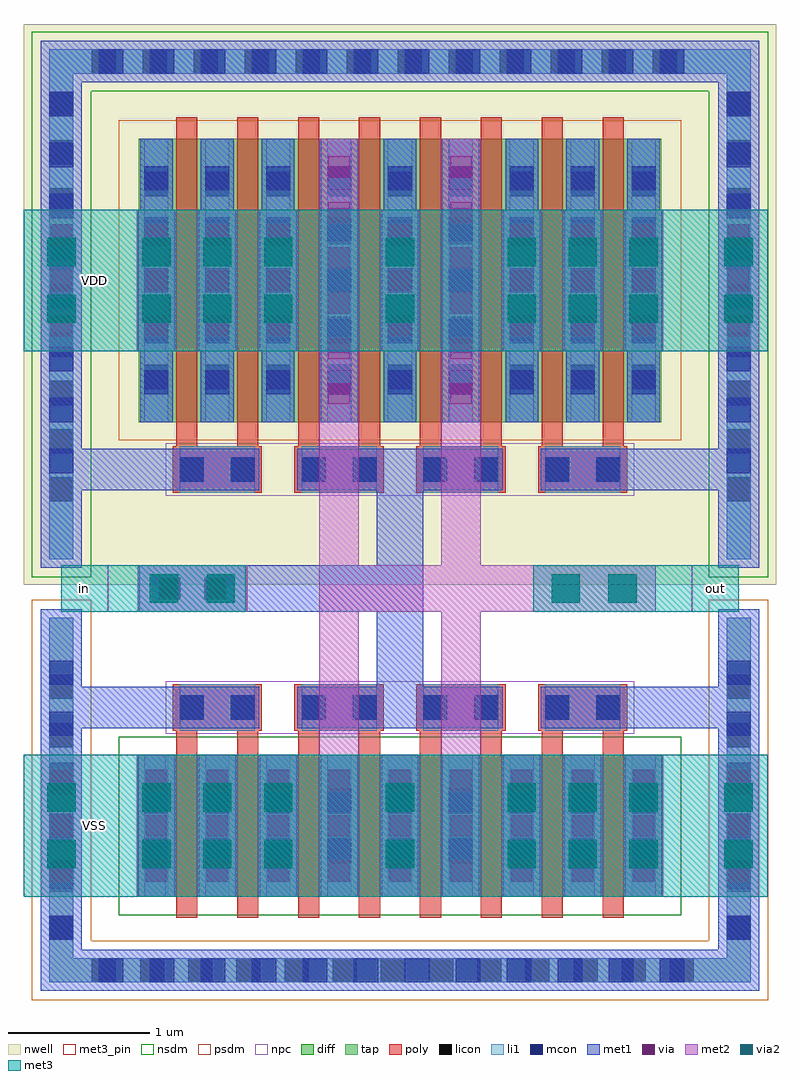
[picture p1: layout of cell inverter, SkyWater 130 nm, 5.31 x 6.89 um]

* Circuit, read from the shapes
.subckt inverter VDD VSS in out
XM1 VSS VSS VSS VSS sky130_fd_pr__nfet_01v8 w=1 l=0.15 m=4
XM2 out in VSS VSS sky130_fd_pr__nfet_01v8 w=1 l=0.15 m=4
XM3 VDD VDD VDD VDD sky130_fd_pr__pfet_01v8 w=2 l=0.15 m=4
XM4 out in VDD VDD sky130_fd_pr__pfet_01v8 w=2 l=0.15 m=4
.ends

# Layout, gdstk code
import gdstk
lib = gdstk.Library(unit=1e-6, precision=1e-09)
def R(c, l, rs):  # rectangles x0, y0, x1, y1
    for r in rs: c.add(gdstk.rectangle(r[:2], r[2:], *l))
def A(c, l, x, y, w, h, nx, ny, dx, dy):  # array of equal rectangles
    R(c, l, [(x+i*dx, y+j*dy, x+i*dx+w, y+j*dy+h) for i in range(nx) for j in range(ny)])
nwell = (64, 20)
diff = (65, 20)
tap = (65, 44)
poly = (66, 20)
licon = (66, 44)
li1 = (67, 20)
mcon = (67, 44)
met1 = (68, 20)
via = (68, 44)
met2 = (69, 20)
via2 = (69, 44)
met3_pin = (70, 16)
met3 = (70, 20)
nsdm = (93, 44)
psdm = (94, 20)
npc = (95, 20)

pfet_01v8_cdns_713557510 = lib.new_cell('pfet_01v8_CDNS_7135575103212')
R(pfet_01v8_cdns_713557510, nwell, [(-0.445,-0.18,0.815,2.18)])
R(pfet_01v8_cdns_713557510, diff, [(-0.265,0,0,2), (0,0,0.15,2), (0.15,0,0.43,2), (0.43,0,0.58,2), (0.58,0,0.635,2)])
R(pfet_01v8_cdns_713557510, poly, [(0,-0.15,0.15,-0.095), (0.43,-0.15,0.58,-0.095), (0,-0.095,0.15,0), (0.43,-0.095,0.58,0), (0,0,0.15,2), (0.43,0,0.58,2), (0,2,0.15,2.095), (0.43,2,0.58,2.095), (0,2.095,0.15,2.15), (0.43,2.095,0.58,2.15)])
A(pfet_01v8_cdns_713557510, licon, -0.225, 0.235, 0.17, 0.17, 1, 5, 0, 0.34)
A(pfet_01v8_cdns_713557510, licon, 0.205, 0.235, 0.17, 0.17, 1, 5, 0, 0.34)
R(pfet_01v8_cdns_713557510, li1, [(-0.225,0,-0.055,2), (0.205,0,0.375,2)])
A(pfet_01v8_cdns_713557510, mcon, -0.225, 0.195, 0.17, 0.17, 1, 5, 0, 0.36)
A(pfet_01v8_cdns_713557510, mcon, 0.205, 0.195, 0.17, 0.17, 1, 5, 0, 0.36)
R(pfet_01v8_cdns_713557510, met1, [(-0.255,0,-0.025,2), (0.175,0,0.405,2)])
R(pfet_01v8_cdns_713557510, psdm, [(-0.405,-0.13,0.645,2.13)])

nfet_01v8_cdns_713557510 = lib.new_cell('nfet_01v8_CDNS_7135575103213')
R(nfet_01v8_cdns_713557510, diff, [(-0.265,0,0,1), (0,0,0.15,1), (0.15,0,0.43,1), (0.43,0,0.58,1), (0.58,0,0.635,1)])
R(nfet_01v8_cdns_713557510, poly, [(0,-0.15,0.15,-0.095), (0.43,-0.15,0.58,-0.095), (0,-0.095,0.15,0), (0.43,-0.095,0.58,0), (0,0,0.15,1), (0.43,0,0.58,1), (0,1,0.15,1.095), (0.43,1,0.58,1.095), (0,1.095,0.15,1.15), (0.43,1.095,0.58,1.15)])
R(nfet_01v8_cdns_713557510, licon, [(-0.225,0.245,-0.055,0.415), (0.205,0.245,0.375,0.415), (-0.225,0.585,-0.055,0.755), (0.205,0.585,0.375,0.755)])
R(nfet_01v8_cdns_713557510, li1, [(-0.225,0,-0.055,1), (0.205,0,0.375,1)])
R(nfet_01v8_cdns_713557510, mcon, [(-0.225,0.235,-0.055,0.405), (0.205,0.235,0.375,0.405), (-0.225,0.595,-0.055,0.765), (0.205,0.595,0.375,0.765)])
R(nfet_01v8_cdns_713557510, met1, [(-0.255,0,-0.025,1), (0.175,0,0.405,1)])
R(nfet_01v8_cdns_713557510, nsdm, [(-0.405,-0.13,0.645,1.13)])

c_nfet_01v8_cdns_713557510 = lib.new_cell('nfet_01v8_CDNS_7135575103210')
R(c_nfet_01v8_cdns_713557510, diff, [(-0.055,0,0,1), (0,0,0.15,1), (0.15,0,0.43,1), (0.43,0,0.58,1), (0.58,0,0.845,1)])
R(c_nfet_01v8_cdns_713557510, poly, [(0,-0.15,0.15,-0.095), (0.43,-0.15,0.58,-0.095), (0,-0.095,0.15,0), (0.43,-0.095,0.58,0), (0,0,0.15,1), (0.43,0,0.58,1), (0,1,0.15,1.095), (0.43,1,0.58,1.095), (0,1.095,0.15,1.15), (0.43,1.095,0.58,1.15)])
R(c_nfet_01v8_cdns_713557510, licon, [(0.205,0.245,0.375,0.415), (0.635,0.245,0.805,0.415), (0.205,0.585,0.375,0.755), (0.635,0.585,0.805,0.755)])
R(c_nfet_01v8_cdns_713557510, li1, [(0.205,0,0.375,1), (0.635,0,0.805,1)])
R(c_nfet_01v8_cdns_713557510, mcon, [(0.205,0.235,0.375,0.405), (0.635,0.235,0.805,0.405), (0.205,0.595,0.375,0.765), (0.635,0.595,0.805,0.765)])
R(c_nfet_01v8_cdns_713557510, met1, [(0.175,0,0.405,1), (0.605,0,0.835,1)])
R(c_nfet_01v8_cdns_713557510, nsdm, [(-0.065,-0.13,0.985,1.13)])

c_nfet_01v8_cdns_713557510_ = lib.new_cell('nfet_01v8_CDNS_7135575103214')
A(c_nfet_01v8_cdns_713557510_, diff, 0, 0, 0.15, 1, 4, 1, 0.43, 0)
A(c_nfet_01v8_cdns_713557510_, diff, 0.15, 0, 0.28, 1, 3, 1, 0.43, 0)
R(c_nfet_01v8_cdns_713557510_, diff, [(-0.225,0,0,1), (1.44,0,1.665,1)])
A(c_nfet_01v8_cdns_713557510_, poly, 0, -0.15, 0.15, 0.055, 4, 2, 0.43, 1.245)
A(c_nfet_01v8_cdns_713557510_, poly, 0, -0.095, 0.15, 0.095, 4, 2, 0.43, 1.095)
A(c_nfet_01v8_cdns_713557510_, poly, 0, 0, 0.15, 1, 4, 1, 0.43, 0)
A(c_nfet_01v8_cdns_713557510_, licon, -0.225, 0.245, 0.17, 0.17, 5, 2, 0.43, 0.34)
A(c_nfet_01v8_cdns_713557510_, li1, -0.225, 0, 0.17, 1, 5, 1, 0.43, 0)
A(c_nfet_01v8_cdns_713557510_, mcon, -0.225, 0.235, 0.17, 0.17, 5, 2, 0.43, 0.36)
A(c_nfet_01v8_cdns_713557510_, met1, -0.255, 0, 0.23, 1, 5, 1, 0.43, 0)
R(c_nfet_01v8_cdns_713557510_, nsdm, [(-0.235,-0.13,1.675,1.13)])

c_pfet_01v8_cdns_713557510 = lib.new_cell('pfet_01v8_CDNS_7135575103215')
R(c_pfet_01v8_cdns_713557510, nwell, [(-0.405,-0.18,1.845,2.18)])
A(c_pfet_01v8_cdns_713557510, diff, 0, 0, 0.15, 2, 4, 1, 0.43, 0)
A(c_pfet_01v8_cdns_713557510, diff, 0.15, 0, 0.28, 2, 3, 1, 0.43, 0)
R(c_pfet_01v8_cdns_713557510, diff, [(-0.225,0,0,2), (1.44,0,1.665,2)])
A(c_pfet_01v8_cdns_713557510, poly, 0, -0.15, 0.15, 0.055, 4, 2, 0.43, 2.245)
A(c_pfet_01v8_cdns_713557510, poly, 0, -0.095, 0.15, 0.095, 4, 2, 0.43, 2.095)
A(c_pfet_01v8_cdns_713557510, poly, 0, 0, 0.15, 2, 4, 1, 0.43, 0)
A(c_pfet_01v8_cdns_713557510, licon, -0.225, 0.235, 0.17, 0.17, 5, 5, 0.43, 0.34)
A(c_pfet_01v8_cdns_713557510, li1, -0.225, 0, 0.17, 2, 5, 1, 0.43, 0)
A(c_pfet_01v8_cdns_713557510, mcon, -0.225, 0.195, 0.17, 0.17, 5, 5, 0.43, 0.36)
A(c_pfet_01v8_cdns_713557510, met1, -0.255, 0, 0.23, 2, 5, 1, 0.43, 0)
R(c_pfet_01v8_cdns_713557510, psdm, [(-0.235,-0.13,1.675,2.13)])

c_pfet_01v8_cdns_713557510_ = lib.new_cell('pfet_01v8_CDNS_7135575103216')
R(c_pfet_01v8_cdns_713557510_, nwell, [(-0.235,-0.18,1.025,2.18)])
R(c_pfet_01v8_cdns_713557510_, diff, [(-0.055,0,0,2), (0,0,0.15,2), (0.15,0,0.43,2), (0.43,0,0.58,2), (0.58,0,0.845,2)])
R(c_pfet_01v8_cdns_713557510_, poly, [(0,-0.15,0.15,-0.095), (0.43,-0.15,0.58,-0.095), (0,-0.095,0.15,0), (0.43,-0.095,0.58,0), (0,0,0.15,2), (0.43,0,0.58,2), (0,2,0.15,2.095), (0.43,2,0.58,2.095), (0,2.095,0.15,2.15), (0.43,2.095,0.58,2.15)])
A(c_pfet_01v8_cdns_713557510_, licon, 0.205, 0.235, 0.17, 0.17, 1, 5, 0, 0.34)
A(c_pfet_01v8_cdns_713557510_, licon, 0.635, 0.235, 0.17, 0.17, 1, 5, 0, 0.34)
R(c_pfet_01v8_cdns_713557510_, li1, [(0.205,0,0.375,2), (0.635,0,0.805,2)])
A(c_pfet_01v8_cdns_713557510_, mcon, 0.205, 0.195, 0.17, 0.17, 1, 5, 0, 0.36)
A(c_pfet_01v8_cdns_713557510_, mcon, 0.635, 0.195, 0.17, 0.17, 1, 5, 0, 0.36)
R(c_pfet_01v8_cdns_713557510_, met1, [(0.175,0,0.405,2), (0.605,0,0.835,2)])
R(c_pfet_01v8_cdns_713557510_, psdm, [(-0.065,-0.13,0.985,2.13)])

polyconn_cdns_7135575103 = lib.new_cell('polyConn_CDNS_713557510320')
R(polyconn_cdns_7135575103, poly, [(-0.315,-0.165,0.315,0.165)])
R(polyconn_cdns_7135575103, licon, [(-0.265,-0.085,-0.095,0.085), (0.095,-0.085,0.265,0.085)])
R(polyconn_cdns_7135575103, li1, [(-0.265,-0.165,0.265,0.165)])
R(polyconn_cdns_7135575103, mcon, [(-0.265,-0.085,-0.095,0.085), (0.095,-0.085,0.265,0.085)])
R(polyconn_cdns_7135575103, met1, [(-0.295,-0.145,0.295,0.145)])
R(polyconn_cdns_7135575103, npc, [(-0.365,-0.185,0.365,0.185)])

m1m2_c_cdns_713557510324 = lib.new_cell('M1M2_C_CDNS_7135575103244')
R(m1m2_c_cdns_713557510324, met1, [(-0.13,-0.5,0.13,0.5)])
A(m1m2_c_cdns_713557510324, via, -0.075, -0.395, 0.15, 0.15, 1, 3, 0, 0.32)
R(m1m2_c_cdns_713557510324, met2, [(-0.13,-0.5,0.13,0.5)])

m1m2_c_cdns_713557510325 = lib.new_cell('M1M2_C_CDNS_7135575103258')
R(m1m2_c_cdns_713557510325, met1, [(-0.13,-1,0.13,1)])
A(m1m2_c_cdns_713557510325, via, -0.075, -0.875, 0.15, 0.15, 1, 6, 0, 0.32)
R(m1m2_c_cdns_713557510325, met2, [(-0.13,-1,0.13,1)])

c_m1m2_c_cdns_713557510325 = lib.new_cell('M1M2_C_CDNS_7135575103259')
R(c_m1m2_c_cdns_713557510325, met1, [(-0.375,-0.165,0.375,0.165)])
R(c_m1m2_c_cdns_713557510325, via, [(-0.235,-0.075,-0.085,0.075), (0.085,-0.075,0.235,0.075)])
R(c_m1m2_c_cdns_713557510325, met2, [(-0.385,-0.165,0.385,0.165)])

m2m3_c_cdns_713557510326 = lib.new_cell('M2M3_C_CDNS_7135575103260')
R(m2m3_c_cdns_713557510326, met2, [(-0.385,-0.165,0.385,0.165)])
R(m2m3_c_cdns_713557510326, via2, [(-0.3,-0.1,-0.1,0.1), (0.1,-0.1,0.3,0.1)])
R(m2m3_c_cdns_713557510326, met3, [(-0.375,-0.165,0.375,0.165)])

m2m3_c_cdns_713557510325 = lib.new_cell('M2M3_C_CDNS_713557510325')
R(m2m3_c_cdns_713557510325, met2, [(-0.43,-0.165,0.43,0.165)])
R(m2m3_c_cdns_713557510325, via2, [(-0.3,-0.1,-0.1,0.1), (0.1,-0.1,0.3,0.1)])
R(m2m3_c_cdns_713557510325, met3, [(-0.43,-0.165,0.43,0.165)])

m1m2_c_cdns_713557510326 = lib.new_cell('M1M2_C_CDNS_7135575103261')
R(m1m2_c_cdns_713557510326, met1, [(-0.145,-0.5,0.145,0.5)])
A(m1m2_c_cdns_713557510326, via, -0.075, -0.395, 0.15, 0.15, 1, 3, 0, 0.32)
R(m1m2_c_cdns_713557510326, met2, [(-0.145,-0.5,0.145,0.5)])

c_m2m3_c_cdns_713557510326 = lib.new_cell('M2M3_C_CDNS_7135575103262')
R(c_m2m3_c_cdns_713557510326, met2, [(-0.145,-0.5,0.145,0.5)])
R(c_m2m3_c_cdns_713557510326, via2, [(-0.1,-0.3,0.1,-0.1), (-0.1,0.1,0.1,0.3)])
R(c_m2m3_c_cdns_713557510326, met3, [(-0.165,-0.5,0.165,0.5)])

c_m1m2_c_cdns_713557510326 = lib.new_cell('M1M2_C_CDNS_7135575103263')
R(c_m1m2_c_cdns_713557510326, met1, [(-0.13,-0.5,0.13,0.5)])
A(c_m1m2_c_cdns_713557510326, via, -0.075, -0.395, 0.15, 0.15, 1, 3, 0, 0.32)
R(c_m1m2_c_cdns_713557510326, met2, [(-0.14,-0.5,0.14,0.5)])

c_m2m3_c_cdns_713557510326_ = lib.new_cell('M2M3_C_CDNS_7135575103264')
R(c_m2m3_c_cdns_713557510326_, met2, [(-0.14,-0.5,0.14,0.5)])
R(c_m2m3_c_cdns_713557510326_, via2, [(-0.1,-0.3,0.1,-0.1), (-0.1,0.1,0.1,0.3)])
R(c_m2m3_c_cdns_713557510326_, met3, [(-0.165,-0.5,0.165,0.5)])

inverter = lib.new_cell('inverter')
R(inverter, nwell, [(0,2.93,5.31,6.89)])
A(inverter, poly, 1.075, 1.73, 0.15, 0.5, 8, 2, 0.43, 1.85)
A(inverter, licon, 0.48, 0.125, 0.17, 0.17, 13, 1, 0.34, 0)
A(inverter, licon, 0.18, 0.425, 0.17, 0.17, 1, 6, 0, 0.34)
A(inverter, licon, 4.96, 0.425, 0.17, 0.17, 1, 6, 0, 0.34)
A(inverter, licon, 0.18, 3.52, 0.17, 0.17, 1, 9, 0, 0.34)
A(inverter, licon, 4.96, 3.52, 0.17, 0.17, 1, 9, 0, 0.34)
A(inverter, licon, 0.48, 6.54, 0.17, 0.17, 12, 1, 0.36, 0)
A(inverter, mcon, 0.53, 0.125, 0.17, 0.17, 12, 2, 0.36, 6.415)
A(inverter, mcon, 0.18, 0.425, 0.17, 0.17, 1, 6, 0, 0.36)
A(inverter, mcon, 4.96, 0.425, 0.17, 0.17, 1, 6, 0, 0.36)
A(inverter, mcon, 0.18, 3.72, 0.17, 0.17, 1, 8, 0, 0.36)
A(inverter, mcon, 4.96, 3.72, 0.17, 0.17, 1, 8, 0, 0.36)
R(inverter, met1, [(0.265,1.92,1.66,2.21), (1.93,1.92,3.38,2.21), (3.65,1.92,5.045,2.21), (0.265,3.6,1.66,3.89), (1.93,3.6,3.38,3.89), (3.65,3.6,5.045,3.89)])
R(inverter, met3_pin, [(0,0.73,1,1.73), (0.265,2.74,0.595,3.07), (4.715,2.74,5.045,3.07), (0,4.58,1,5.58)])
R(inverter, npc, [(1,1.88,4.31,2.25), (1,3.56,4.31,3.93)])
inverter.add(gdstk.FlexPath([(0.055,6.625),(5.255,6.625)], 0.42, ends="flush", simple_path=True, layer=93, datatype=44))  # nsdm
inverter.add(gdstk.FlexPath([(5.045,6.835),(5.045,2.985)], 0.42, ends="flush", simple_path=True, layer=93, datatype=44))  # nsdm
inverter.add(gdstk.FlexPath([(0.265,6.835),(0.265,2.985)], 0.42, ends="flush", simple_path=True, layer=93, datatype=44))  # nsdm
inverter.add(gdstk.FlexPath([(0,6.625),(5.31,6.625)], 0.53, ends="flush", simple_path=True, layer=64, datatype=20))  # nwell
inverter.add(gdstk.FlexPath([(5.045,6.89),(5.045,2.93)], 0.53, ends="flush", simple_path=True, layer=64, datatype=20))  # nwell
inverter.add(gdstk.FlexPath([(0.265,6.89),(0.265,2.93)], 0.53, ends="flush", simple_path=True, layer=64, datatype=20))  # nwell
inverter.add(gdstk.FlexPath([(0.265,0),(0.265,2.825)], 0.42, ends="flush", simple_path=True, layer=94, datatype=20))  # psdm
inverter.add(gdstk.FlexPath([(0.055,0.21),(5.255,0.21)], 0.42, ends="flush", simple_path=True, layer=94, datatype=20))  # psdm
inverter.add(gdstk.FlexPath([(5.045,0),(5.045,2.825)], 0.42, ends="flush", simple_path=True, layer=94, datatype=20))  # psdm
inverter.add(gdstk.FlexPath([(0.18,6.625),(5.13,6.625)], 0.17, ends="flush", simple_path=True, layer=67, datatype=20))  # li1
inverter.add(gdstk.FlexPath([(5.045,6.71),(5.045,3.11)], 0.17, ends="flush", simple_path=True, layer=67, datatype=20))  # li1
inverter.add(gdstk.FlexPath([(0.265,6.71),(0.265,3.11)], 0.17, ends="flush", simple_path=True, layer=67, datatype=20))  # li1
inverter.add(gdstk.FlexPath([(0.265,0.125),(0.265,2.7)], 0.17, ends="flush", simple_path=True, layer=67, datatype=20))  # li1
inverter.add(gdstk.FlexPath([(0.18,0.21),(5.13,0.21)], 0.17, ends="flush", simple_path=True, layer=67, datatype=20))  # li1
inverter.add(gdstk.FlexPath([(5.045,0.125),(5.045,2.7)], 0.17, ends="flush", simple_path=True, layer=67, datatype=20))  # li1
inverter.add(gdstk.FlexPath([(5.045,6.77),(5.045,3.05)], 0.29, ends="flush", simple_path=True, layer=68, datatype=20))  # met1
inverter.add(gdstk.FlexPath([(0.265,6.77),(0.265,3.05)], 0.29, ends="flush", simple_path=True, layer=68, datatype=20))  # met1
inverter.add(gdstk.FlexPath([(0.12,6.625),(5.19,6.625)], 0.29, ends="flush", simple_path=True, layer=68, datatype=20))  # met1
inverter.add(gdstk.FlexPath([(0.265,0.065),(0.265,2.76)], 0.29, ends="flush", simple_path=True, layer=68, datatype=20))  # met1
inverter.add(gdstk.FlexPath([(0.12,0.21),(5.19,0.21)], 0.29, ends="flush", simple_path=True, layer=68, datatype=20))  # met1
inverter.add(gdstk.FlexPath([(5.045,0.065),(5.045,2.76)], 0.29, ends="flush", simple_path=True, layer=68, datatype=20))  # met1
inverter.add(gdstk.FlexPath([(2.655,2.905),(0.815,2.905)], 0.33, ends="flush", simple_path=True, layer=68, datatype=20))  # met1
inverter.add(gdstk.FlexPath([(2.655,1.92),(2.655,3.89)], 0.33, ends="flush", simple_path=True, layer=68, datatype=20))  # met1
inverter.add(gdstk.FlexPath([(5.045,0.125),(5.045,2.7)], 0.17, ends="flush", simple_path=True, layer=65, datatype=44))  # tap
inverter.add(gdstk.FlexPath([(0.18,0.21),(5.13,0.21)], 0.17, ends="flush", simple_path=True, layer=65, datatype=44))  # tap
inverter.add(gdstk.FlexPath([(0.265,0.125),(0.265,2.7)], 0.17, ends="flush", simple_path=True, layer=65, datatype=44))  # tap
inverter.add(gdstk.FlexPath([(5.045,6.71),(5.045,3.11)], 0.17, ends="flush", simple_path=True, layer=65, datatype=44))  # tap
inverter.add(gdstk.FlexPath([(0.265,6.71),(0.265,3.11)], 0.17, ends="flush", simple_path=True, layer=65, datatype=44))  # tap
inverter.add(gdstk.FlexPath([(0.18,6.625),(5.13,6.625)], 0.17, ends="flush", simple_path=True, layer=65, datatype=44))  # tap
inverter.add(gdstk.FlexPath([(2.225,6.08),(2.225,0.73)], 0.28, ends="flush", simple_path=True, layer=69, datatype=20))  # met2
inverter.add(gdstk.FlexPath([(3.085,6.08),(3.085,0.73)], 0.28, ends="flush", simple_path=True, layer=69, datatype=20))  # met2
inverter.add(gdstk.FlexPath([(2.085,2.905),(4.46,2.905)], 0.33, ends="flush", simple_path=True, layer=69, datatype=20))  # met2
inverter.add(gdstk.FlexPath([(1.565,2.905),(0.265,2.905)], 0.33, ends="flush", simple_path=True, layer=70, datatype=20))  # met3
inverter.add(gdstk.FlexPath([(5.045,2.905),(3.595,2.905)], 0.33, ends="flush", simple_path=True, layer=70, datatype=20))  # met3
inverter.add(gdstk.FlexPath([(0,5.08),(5.25,5.08)], 1, ends="flush", simple_path=True, layer=70, datatype=20))  # met3
inverter.add(gdstk.FlexPath([(0,1.23),(5.25,1.23)], 1, ends="flush", simple_path=True, layer=70, datatype=20))  # met3
inverter.add(gdstk.Reference(pfet_01v8_cdns_713557510, (1.075,4.08)))
inverter.add(gdstk.Reference(nfet_01v8_cdns_713557510, (1.075,0.73)))
inverter.add(gdstk.Reference(c_nfet_01v8_cdns_713557510, (3.655,0.73)))
inverter.add(gdstk.Reference(c_nfet_01v8_cdns_713557510_, (1.935,0.73)))
inverter.add(gdstk.Reference(c_pfet_01v8_cdns_713557510, (1.935,4.08)))
inverter.add(gdstk.Reference(c_pfet_01v8_cdns_713557510_, (3.655,4.08)))
inverter.add(gdstk.Reference(polyconn_cdns_7135575103, (3.945,2.065), x_reflection=True))
inverter.add(gdstk.Reference(polyconn_cdns_7135575103, (3.085,2.065), x_reflection=True))
inverter.add(gdstk.Reference(polyconn_cdns_7135575103, (2.225,2.065), x_reflection=True))
inverter.add(gdstk.Reference(polyconn_cdns_7135575103, (1.365,2.065), x_reflection=True))
inverter.add(gdstk.Reference(polyconn_cdns_7135575103, (3.945,3.745)))
inverter.add(gdstk.Reference(polyconn_cdns_7135575103, (3.085,3.745)))
inverter.add(gdstk.Reference(polyconn_cdns_7135575103, (2.225,3.745)))
inverter.add(gdstk.Reference(polyconn_cdns_7135575103, (1.365,3.745)))
inverter.add(gdstk.Reference(m1m2_c_cdns_713557510324, (3.085,1.23)))
inverter.add(gdstk.Reference(m1m2_c_cdns_713557510324, (2.225,1.23)))
inverter.add(gdstk.Reference(m1m2_c_cdns_713557510325, (3.085,5.08)))
inverter.add(gdstk.Reference(m1m2_c_cdns_713557510325, (2.225,5.08)))
inverter.add(gdstk.Reference(c_m1m2_c_cdns_713557510325, (1.19,2.905)))
inverter.add(gdstk.Reference(m2m3_c_cdns_713557510326, (1.19,2.905)))
inverter.add(gdstk.Reference(m2m3_c_cdns_713557510325, (4.025,2.905)))
inverter.add(gdstk.Reference(m1m2_c_cdns_713557510326, (5.045,1.23)))
inverter.add(gdstk.Reference(m1m2_c_cdns_713557510326, (0.265,1.23)))
inverter.add(gdstk.Reference(m1m2_c_cdns_713557510326, (5.045,5.08)))
inverter.add(gdstk.Reference(m1m2_c_cdns_713557510326, (0.265,5.08)))
inverter.add(gdstk.Reference(c_m2m3_c_cdns_713557510326, (5.045,1.23)))
inverter.add(gdstk.Reference(c_m2m3_c_cdns_713557510326, (0.265,1.23)))
inverter.add(gdstk.Reference(c_m2m3_c_cdns_713557510326, (5.045,5.08)))
inverter.add(gdstk.Reference(c_m2m3_c_cdns_713557510326, (0.265,5.08)))
inverter.add(gdstk.Reference(c_m1m2_c_cdns_713557510326, (4.375,1.23)))
inverter.add(gdstk.Reference(c_m1m2_c_cdns_713557510326, (3.945,1.23)))
inverter.add(gdstk.Reference(c_m1m2_c_cdns_713557510326, (3.515,1.23)))
inverter.add(gdstk.Reference(c_m1m2_c_cdns_713557510326, (2.655,1.23)))
inverter.add(gdstk.Reference(c_m1m2_c_cdns_713557510326, (1.795,1.23)))
inverter.add(gdstk.Reference(c_m1m2_c_cdns_713557510326, (1.365,1.23)))
inverter.add(gdstk.Reference(c_m1m2_c_cdns_713557510326, (0.935,1.23)))
inverter.add(gdstk.Reference(c_m1m2_c_cdns_713557510326, (4.375,5.08)))
inverter.add(gdstk.Reference(c_m1m2_c_cdns_713557510326, (3.945,5.08)))
inverter.add(gdstk.Reference(c_m1m2_c_cdns_713557510326, (3.515,5.08)))
inverter.add(gdstk.Reference(c_m1m2_c_cdns_713557510326, (2.655,5.08)))
inverter.add(gdstk.Reference(c_m1m2_c_cdns_713557510326, (1.795,5.08)))
inverter.add(gdstk.Reference(c_m1m2_c_cdns_713557510326, (1.365,5.08)))
inverter.add(gdstk.Reference(c_m1m2_c_cdns_713557510326, (0.935,5.08)))
inverter.add(gdstk.Reference(c_m2m3_c_cdns_713557510326_, (4.375,1.23)))
inverter.add(gdstk.Reference(c_m2m3_c_cdns_713557510326_, (3.945,1.23)))
inverter.add(gdstk.Reference(c_m2m3_c_cdns_713557510326_, (3.515,1.23)))
inverter.add(gdstk.Reference(c_m2m3_c_cdns_713557510326_, (2.655,1.23)))
inverter.add(gdstk.Reference(c_m2m3_c_cdns_713557510326_, (1.795,1.23)))
inverter.add(gdstk.Reference(c_m2m3_c_cdns_713557510326_, (1.365,1.23)))
inverter.add(gdstk.Reference(c_m2m3_c_cdns_713557510326_, (0.935,1.23)))
inverter.add(gdstk.Reference(c_m2m3_c_cdns_713557510326_, (4.375,5.08)))
inverter.add(gdstk.Reference(c_m2m3_c_cdns_713557510326_, (3.945,5.08)))
inverter.add(gdstk.Reference(c_m2m3_c_cdns_713557510326_, (3.515,5.08)))
inverter.add(gdstk.Reference(c_m2m3_c_cdns_713557510326_, (2.655,5.08)))
inverter.add(gdstk.Reference(c_m2m3_c_cdns_713557510326_, (1.795,5.08)))
inverter.add(gdstk.Reference(c_m2m3_c_cdns_713557510326_, (1.365,5.08)))
inverter.add(gdstk.Reference(c_m2m3_c_cdns_713557510326_, (0.935,5.08)))
inverter.add(gdstk.Label('in', (0.43,2.905), layer=70, texttype=5))
inverter.add(gdstk.Label('out', (4.88,2.905), layer=70, texttype=5))
inverter.add(gdstk.Label('VDD', (0.5,5.08), layer=70, texttype=5))
inverter.add(gdstk.Label('VSS', (0.5,1.23), layer=70, texttype=5))

lib.write_gds('inverter.gds')
